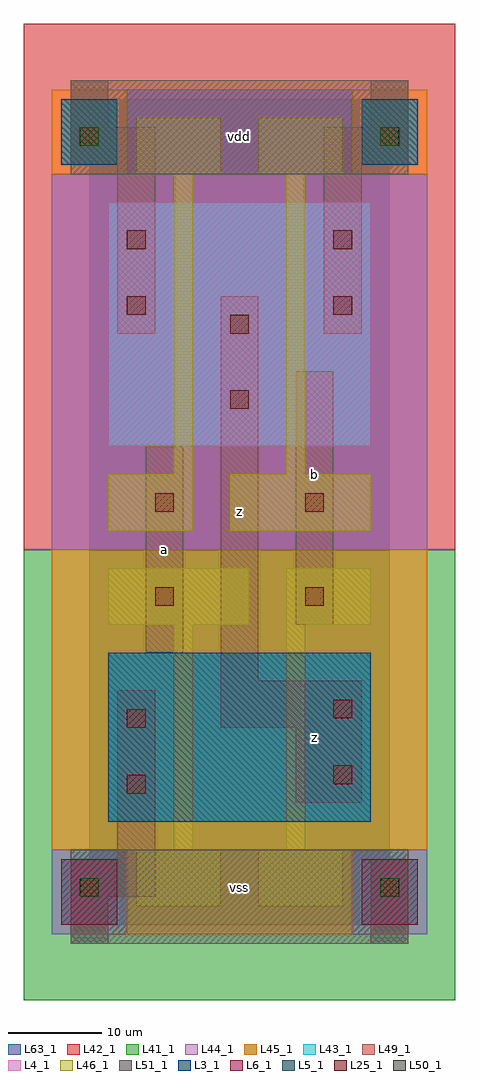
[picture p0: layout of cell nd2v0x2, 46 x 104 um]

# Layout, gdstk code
import gdstk
lib = gdstk.Library(unit=1e-6, precision=1e-09)
def R(c, l, rs):  # rectangles x0, y0, x1, y1
    for r in rs: c.add(gdstk.rectangle(r[:2], r[2:], *l))
L3_1 = (3, 1)
L4_1 = (4, 1)
L5_1 = (5, 1)
L6_1 = (6, 1)
L25_1 = (25, 1)
L41_1 = (41, 1)
L42_1 = (42, 1)
L43_1 = (43, 1)
L44_1 = (44, 1)
L45_1 = (45, 1)
L46_1 = (46, 1)
L49_1 = (49, 1)
L50_1 = (50, 1)
L51_1 = (51, 1)
L63_1 = (63, 1)

nd2v0x2 = lib.new_cell('nd2v0x2')
R(nd2v0x2, L3_1, [(2,11,30,29)])
R(nd2v0x2, L4_1, [(2,51,30,77)])
R(nd2v0x2, L5_1, [(-3,81,3,88), (29,81,35,88)])
R(nd2v0x2, L6_1, [(-3,0,3,7), (-3,0,3,7), (29,0,35,7), (29,0,35,7)])
R(nd2v0x2, L25_1, [(-1,3,1,5), (31,3,33,5), (4,14,6,16), (26,15,28,17), (4,21,6,23), (26,22,28,24), (7,34,9,36), (23,34,25,36), (7,44,9,46), (23,44,25,46), (15,55,17,57), (15,63,17,65), (4,65,6,67), (26,65,28,67), (4,72,6,74), (26,72,28,74), (-1,83,1,85), (31,83,33,85)])
R(nd2v0x2, L41_1, [(-7,-8,39,40)])
R(nd2v0x2, L42_1, [(-7,40,39,96)])
R(nd2v0x2, L43_1, [(-3,0,3,7), (29,0,35,7), (2,11,30,29), (2,51,30,77), (-3,81,3,88), (29,81,35,88)])
R(nd2v0x2, L44_1, [(-4,-1,4,8), (28,-1,36,8), (-4,40,36,80), (4,80,28,89)])
R(nd2v0x2, L45_1, [(4,-1,28,8), (-4,8,36,40), (-4,80,4,89), (28,80,36,89)])
R(nd2v0x2, L46_1, [(5,2,14,8), (18,2,27,8), (9,8,11,32), (21,8,23,32), (2,32,17,38), (21,32,30,38), (2,42,11,48), (15,42,30,48), (9,48,11,80), (21,48,23,80), (5,80,14,86), (18,80,27,86)])
R(nd2v0x2, L49_1, [(-2,-2,2,3), (30,-2,34,7), (-2,3,7,7), (3,7,7,25), (22,13,29,21), (14,21,29,26), (14,26,18,67), (6,29,10,51), (22,32,26,59), (3,63,7,81), (25,63,29,81), (-2,81,7,85), (25,81,34,85), (-2,85,2,90), (30,85,34,90)])
R(nd2v0x2, L50_1, [(-1,3,1,5), (31,3,33,5), (-1,83,1,85), (31,83,33,85)])
R(nd2v0x2, L51_1, [(-2,-2,34,8), (-2,80,34,90)])
R(nd2v0x2, L63_1, [(0,0,32,88)])
nd2v0x2.add(gdstk.Label('a', (8,40), layer=49, texttype=1))
nd2v0x2.add(gdstk.Label('z', (16,44), layer=49, texttype=1))
nd2v0x2.add(gdstk.Label('z', (24,20), layer=49, texttype=1))
nd2v0x2.add(gdstk.Label('b', (24,48), layer=49, texttype=1))
nd2v0x2.add(gdstk.Label('vss', (16,4), layer=51, texttype=1))
nd2v0x2.add(gdstk.Label('vdd', (16,84), layer=51, texttype=1))

lib.write_gds('nd2v0x2.gds')
